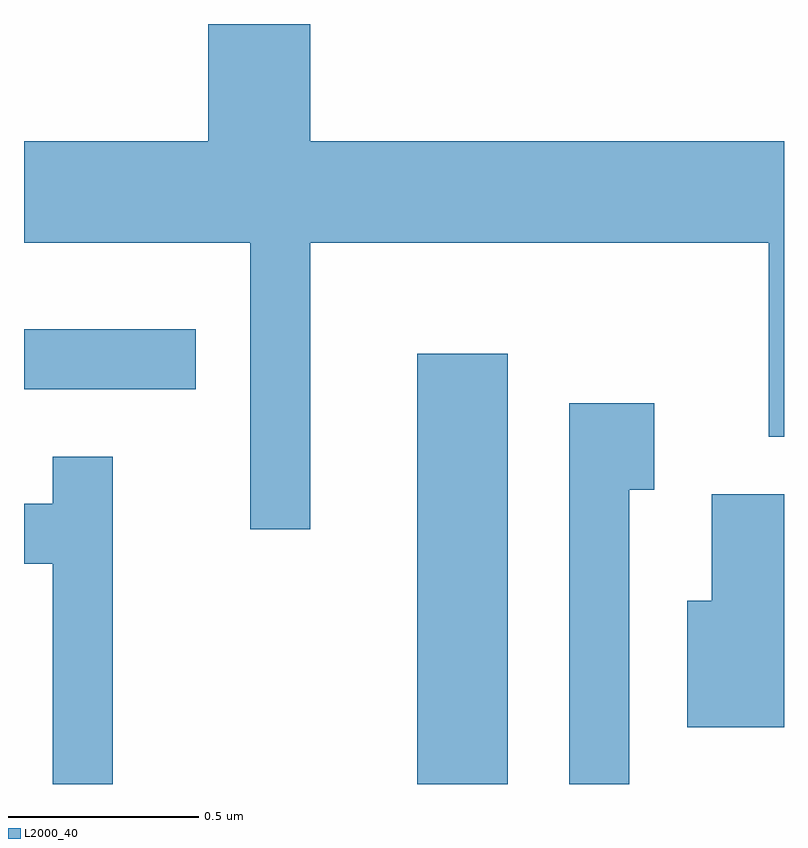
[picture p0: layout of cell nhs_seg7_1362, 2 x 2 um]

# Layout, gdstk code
import gdstk
lib = gdstk.Library(unit=1e-6, precision=1e-09)
def R(c, l, rs):  # rectangles x0, y0, x1, y1
    for r in rs: c.add(gdstk.rectangle(r[:2], r[2:], *l))
def P(c, l, *ps):  # polygons
    for p in ps: c.add(gdstk.Polygon(p, *l))
L2000_40 = (2000, 40)

nhs_seg7_1362 = lib.new_cell('nhs_seg7_1362')
R(nhs_seg7_1362, L2000_40, [(195.646,1797.252,195.884,1798.384), (194.611,1798.291,195.063,1798.449)])
P(nhs_seg7_1362, L2000_40, [(195.364,1798.676),(196.571,1798.676),(196.571,1798.166),(196.611,1798.166),(196.611,1798.944),(195.364,1798.944),(195.364,1799.252),(195.096,1799.252),(195.096,1798.944),(194.611,1798.944),(194.611,1798.676),(195.206,1798.676),(195.206,1797.923),(195.364,1797.923)],
  [(196.204,1798.026),(196.269,1798.026),(196.269,1798.254),(196.046,1798.254),(196.046,1797.252),(196.204,1797.252)],
  [(194.844,1798.113),(194.686,1798.113),(194.686,1797.989),(194.611,1797.989),(194.611,1797.831),(194.686,1797.831),(194.686,1797.252),(194.844,1797.252)],
  [(196.611,1798.014),(196.421,1798.014),(196.421,1797.734),(196.356,1797.734),(196.356,1797.401),(196.611,1797.401)])

lib.write_gds('nhs_seg7_1362.gds')
